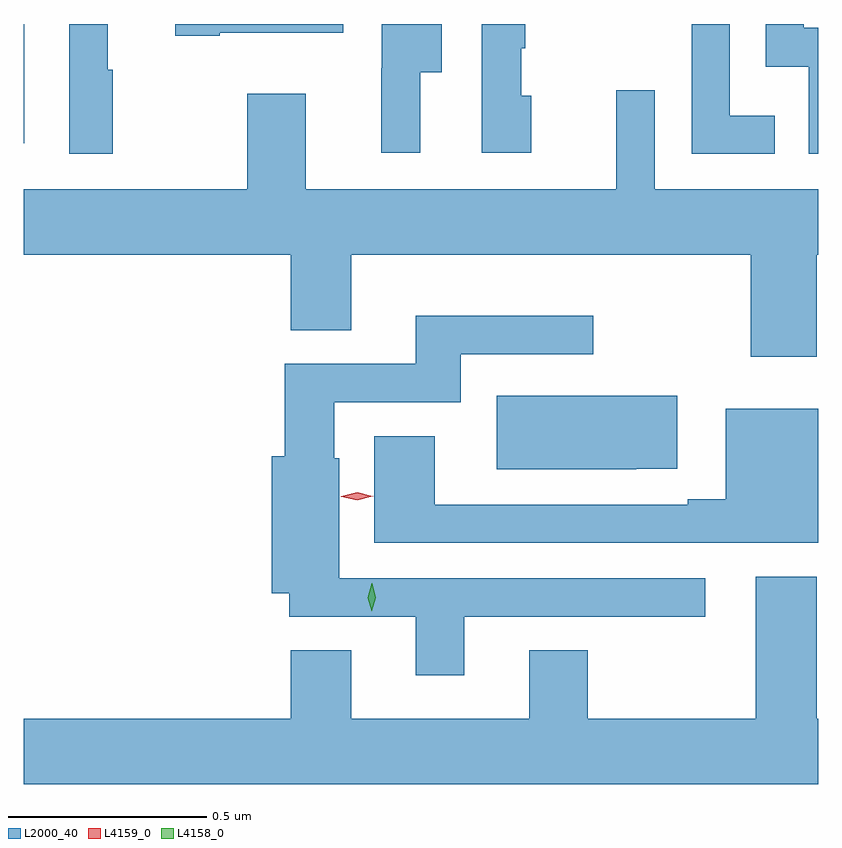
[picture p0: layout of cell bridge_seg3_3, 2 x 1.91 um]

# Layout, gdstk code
import gdstk
lib = gdstk.Library(unit=1e-6, precision=1e-09)
def R(c, l, rs):  # rectangles x0, y0, x1, y1
    for r in rs: c.add(gdstk.rectangle(r[:2], r[2:], *l))
def P(c, l, *ps):  # polygons
    for p in ps: c.add(gdstk.Polygon(p, *l))
L2000_40 = (2000, 40)
L4158_0 = (4158, 0)
L4159_0 = (4159, 0)

bridge_seg3_3 = lib.new_cell('bridge_seg3_3')
R(bridge_seg3_3, L2000_40, [(1010.861,721.176,1010.863,721.476)])
P(bridge_seg3_3, L2000_40, [(1012.138,721.296),(1012.113,721.296),(1012.113,721.415),(1012.123,721.415),(1012.123,721.476),(1012.014,721.476),(1012.014,721.152),(1012.138,721.152)],
  [(1012.751,721.245),(1012.638,721.245),(1012.638,721.476),(1012.542,721.476),(1012.542,721.149),(1012.751,721.149)],
  [(1011.085,721.361),(1011.073,721.361),(1011.073,721.476),(1010.976,721.476),(1010.976,721.149),(1011.085,721.149)],
  [(1011.859,721.354),(1011.913,721.354),(1011.913,721.476),(1011.762,721.476),(1011.762,721.365),(1011.761,721.365),(1011.761,721.152),(1011.859,721.152)],
  [(1011.355,721.454),(1011.665,721.454),(1011.665,721.476),(1011.243,721.476),(1011.243,721.447),(1011.355,721.447)],
  [(1012.861,721.466),(1012.824,721.466),(1012.824,721.476),(1012.728,721.476),(1012.728,721.368),(1012.836,721.368),(1012.836,721.149),(1012.861,721.149)],
  [(1012.856,720.896),(1012.861,720.896),(1012.861,721.06),(1012.449,721.06),(1012.449,721.309),(1012.352,721.309),(1012.352,721.06),(1011.571,721.06),(1011.571,721.3),(1011.424,721.3),(1011.424,721.06),(1010.861,721.06),(1010.861,720.896),(1011.533,720.896),(1011.533,720.706),(1011.685,720.706),(1011.685,720.896),(1012.691,720.896),(1012.691,720.639),(1012.856,720.639)],
  [(1011.97,719.985),(1012.576,719.985),(1012.576,720.081),(1011.655,720.081),(1011.655,720.384),(1011.643,720.384),(1011.643,720.525),(1011.961,720.525),(1011.961,720.645),(1012.294,720.645),(1012.294,720.742),(1011.848,720.742),(1011.848,720.621),(1011.518,720.621),(1011.518,720.388),(1011.485,720.388),(1011.485,720.044),(1011.53,720.044),(1011.53,719.985),(1011.848,719.985),(1011.848,719.838),(1011.97,719.838)],
  [(1012.403,720.357),(1012.506,720.357),(1012.506,720.541),(1012.052,720.541),(1012.052,720.356),(1012.403,720.356)],
  [(1012.861,720.508),(1012.628,720.508),(1012.628,720.281),(1012.532,720.281),(1012.532,720.267),(1011.895,720.267),(1011.895,720.439),(1011.743,720.439),(1011.743,720.171),(1012.861,720.171)],
  [(1012.861,719.728),(1012.856,719.728),(1012.856,720.085),(1012.703,720.085),(1012.703,719.728),(1012.281,719.728),(1012.281,719.9),(1012.133,719.9),(1012.133,719.728),(1011.685,719.728),(1011.685,719.9),(1011.533,719.9),(1011.533,719.728),(1010.861,719.728),(1010.861,719.564),(1012.861,719.564)])
P(bridge_seg3_3, L4158_0, [(1011.737,719.998),(1011.737,719.998),(1011.727,720.033),(1011.737,720.069),(1011.737,720.069),(1011.738,720.069),(1011.747,720.033),(1011.737,719.998)])
P(bridge_seg3_3, L4159_0, [(1011.7,720.278),(1011.66,720.287),(1011.659,720.287),(1011.66,720.288),(1011.7,720.298),(1011.74,720.288),(1011.741,720.288),(1011.74,720.288)])

lib.write_gds('bridge_seg3_3.gds')
